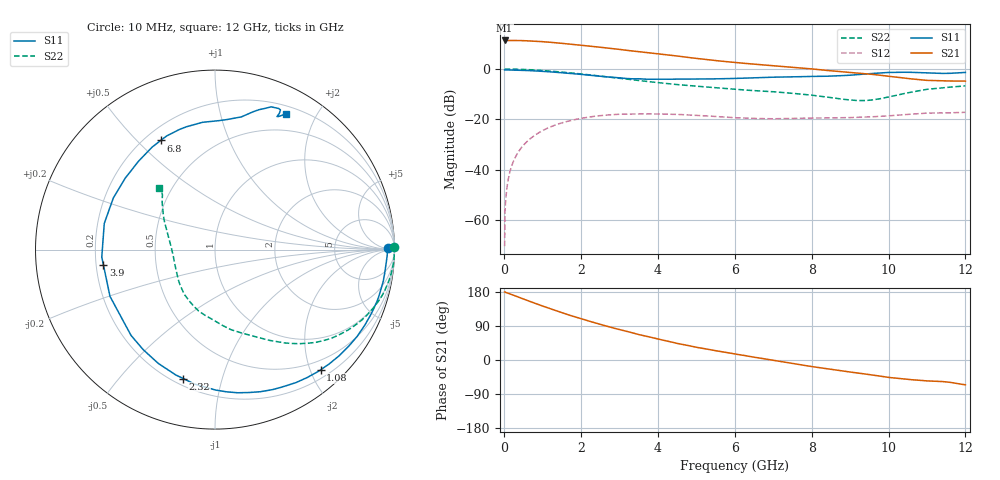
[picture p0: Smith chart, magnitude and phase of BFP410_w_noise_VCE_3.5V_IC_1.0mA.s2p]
! Infineon Technologies  Discrete & RF Semiconductors
! BFP410
! VCE =  3.5 V,  IC =  1.0 mA
! Common Emitter S-Parameters:  Nov 2015
# GHz  S  MA  R  50
!  f  S11  S21  S12  S22
! GHz  MAG  ANG  MAG  ANG  MAG  ANG  MAG  ANG
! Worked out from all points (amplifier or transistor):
!   243 points, 10 MHz to 12 GHz, reference 50 ohm
!   highest |S21| = 11.4 dB at 10 MHz (marker M1)
!   |S21| within 3 dB of that: start of sweep to 2.671 GHz
!   unconditionally stable (mu >= 1): 4.649 GHz to end of sweep
!   at 240 MHz: K = 0.03, MSG = 24.0 dB, |S12| = -36.7 dB
!   at 1.84 GHz: K = 0.27, MSG = 14.9 dB, |S12| = -20.1 dB
!   at 12 GHz: K = 1.26, MAG = 3.1 dB, |S12| = -17.2 dB
!   lowest NFmin = 0.79 dB at 900 MHz
!   S11 on the Smith chart (normalised r, x): 10 MHz: 50, +9; 1.08 GHz: 0.33, -2.17; 2.32 GHz: 0.24, -0.75; 3.9 GHz: 0.23, -0.06; 6.8 GHz: 0.26, +0.59; 12 GHz: 0.29, +1.62
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0.01  0.9622 0.4  3.699 179.6  0.0003 141.7  1 0.9
0.015  0.9613 0.1  3.686 179.6  0.0008 91.3  0.9963 0.7
0.02  0.9604 -0.3  3.673 179.5  0.0014 81.8  0.9927 0.4
0.05  0.9602 -1.9  3.674 177.8  0.0031 88.0  0.9993 -0.6
0.105  0.9566 -4.6  3.692 176.1  0.0064 86.5  0.9991 -2.2
0.195  0.9543 -8.6  3.699 172.7  0.0119 84.8  0.9973 -4.2
0.4  0.9476 -17.7  3.681 164.8  0.0244 80.0  0.9884 -8.6
0.7  0.928 -31.4  3.618 153.4  0.0425 72.3  0.9664 -15.2
1.08  0.8917 -48.7  3.459 139.4  0.0641 62.4  0.9244 -22.9
1.6  0.8312 -72.3  3.191 121.4  0.0893 48.9  0.8542 -32.6
2.02  0.7794 -90.6  2.956 108.3  0.1051 39.0  0.7954 -39.3
2.32  0.7399 -103.9  2.8 99.3  0.114 32.1  0.7504 -43.8
3  0.6688 -134.4  2.455 80.1  0.1261 17.6  0.6506 -53.1
3.9  0.6275 -172.2  2.049 57.8  0.128 3.1  0.5466 -63.7
4.1  0.628 -179.6  1.969 53.1  0.1274 0.4  0.5268 -66.2
5  0.6353 153.1  1.626 33.6  0.1202 -9.9  0.456 -78.5
6.1  0.6536 128.9  1.329 14.3  0.107 -15.4  0.39 -91.9
6.8  0.6792 116.4  1.196 2.6  0.1031 -15.4  0.3603 -102.2
8.2  0.7143 91.8  0.97 -20.2  0.1063 -15.8  0.2884 -129.4
9.4  0.7972 74.5  0.807 -37.1  0.1108 -15.9  0.236 -173.4
10.2  0.8585 67.1  0.691 -47.9  0.1204 -16.3  0.2996 155.7
12  0.8552 62.3  0.575 -65.6  0.1377 -26.5  0.4618 132.1
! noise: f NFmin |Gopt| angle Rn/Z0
0.45  0.82  0.68  9  0.45
0.9  0.79  0.65  23  0.41
1.8  1.13  0.53  57  0.35
2.4  1.23  0.5  71  0.31
5.5  2.66  0.44  -153  0.19
